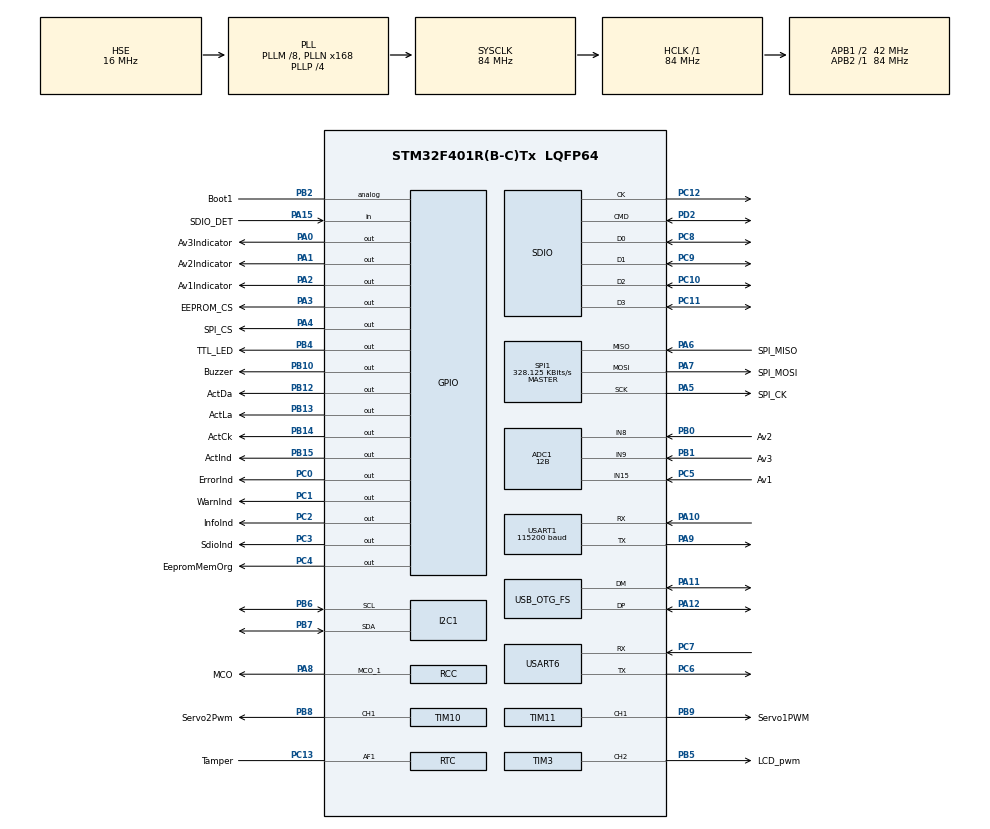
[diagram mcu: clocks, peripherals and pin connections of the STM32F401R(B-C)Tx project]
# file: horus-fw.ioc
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ADC1.Channel-0\#ChannelRegularConversion=ADC_CHANNEL_VREFINT
ADC1.Channel-1\#ChannelRegularConversion=ADC_CHANNEL_TEMPSENSOR
ADC1.Channel-2\#ChannelRegularConversion=ADC_CHANNEL_15
ADC1.Channel-3\#ChannelRegularConversion=ADC_CHANNEL_8
ADC1.Channel-5\#ChannelRegularConversion=ADC_CHANNEL_9
ADC1.ClockPrescaler=ADC_CLOCK_SYNC_PCLK_DIV8
ADC1.ContinuousConvMode=ENABLE
ADC1.DMAContinuousRequests=ENABLE
ADC1.NbrOfConversion=5
ADC1.NbrOfConversionFlag=1
ADC1.Rank-0\#ChannelRegularConversion=1
ADC1.Rank-1\#ChannelRegularConversion=2
ADC1.Rank-2\#ChannelRegularConversion=3
ADC1.Rank-3\#ChannelRegularConversion=4
ADC1.Rank-5\#ChannelRegularConversion=5
ADC1.Resolution=ADC_RESOLUTION_12B
ADC1.SamplingTime-0\#ChannelRegularConversion=ADC_SAMPLETIME_56CYCLES
ADC1.SamplingTime-1\#ChannelRegularConversion=ADC_SAMPLETIME_144CYCLES
ADC1.SamplingTime-2\#ChannelRegularConversion=ADC_SAMPLETIME_56CYCLES
ADC1.SamplingTime-3\#ChannelRegularConversion=ADC_SAMPLETIME_56CYCLES
ADC1.SamplingTime-5\#ChannelRegularConversion=ADC_SAMPLETIME_56CYCLES
ADC1.master=1
Dma.ADC1.0.Direction=DMA_PERIPH_TO_MEMORY
Dma.ADC1.0.FIFOMode=DMA_FIFOMODE_DISABLE
Dma.ADC1.0.Instance=DMA2_Stream4
Dma.ADC1.0.MemDataAlignment=DMA_MDATAALIGN_WORD
Dma.ADC1.0.MemInc=DMA_MINC_ENABLE
Dma.ADC1.0.Mode=DMA_CIRCULAR
Dma.ADC1.0.PeriphDataAlignment=DMA_PDATAALIGN_WORD
Dma.ADC1.0.PeriphInc=DMA_PINC_DISABLE
Dma.ADC1.0.Priority=DMA_PRIORITY_LOW
Dma.Request0=ADC1
Dma.Request1=SDIO
Dma.Request2=USART1_RX
Dma.Request3=USART6_RX
Dma.Request4=USART6_TX
Dma.Request5=USART1_TX
Dma.SDIO.1.Direction=DMA_PERIPH_TO_MEMORY
Dma.SDIO.1.FIFOMode=DMA_FIFOMODE_ENABLE
Dma.SDIO.1.FIFOThreshold=DMA_FIFO_THRESHOLD_FULL
Dma.SDIO.1.Instance=DMA2_Stream3
Dma.SDIO.1.MemBurst=DMA_MBURST_INC4
Dma.SDIO.1.MemDataAlignment=DMA_MDATAALIGN_WORD
Dma.SDIO.1.MemInc=DMA_MINC_ENABLE
Dma.SDIO.1.Mode=DMA_PFCTRL
Dma.SDIO.1.PeriphBurst=DMA_PBURST_INC4
Dma.SDIO.1.PeriphDataAlignment=DMA_PDATAALIGN_WORD
Dma.SDIO.1.PeriphInc=DMA_PINC_DISABLE
Dma.SDIO.1.Priority=DMA_PRIORITY_LOW
Dma.USART1_RX.2.Direction=DMA_PERIPH_TO_MEMORY
Dma.USART1_RX.2.FIFOMode=DMA_FIFOMODE_DISABLE
Dma.USART1_RX.2.Instance=DMA2_Stream2
Dma.USART1_RX.2.MemDataAlignment=DMA_MDATAALIGN_BYTE
Dma.USART1_RX.2.MemInc=DMA_MINC_ENABLE
Dma.USART1_RX.2.Mode=DMA_NORMAL
Dma.USART1_RX.2.PeriphDataAlignment=DMA_PDATAALIGN_BYTE
Dma.USART1_RX.2.PeriphInc=DMA_PINC_DISABLE
Dma.USART1_RX.2.Priority=DMA_PRIORITY_LOW
Dma.USART1_TX.5.Direction=DMA_MEMORY_TO_PERIPH
Dma.USART1_TX.5.FIFOMode=DMA_FIFOMODE_DISABLE
Dma.USART1_TX.5.Instance=DMA2_Stream7
Dma.USART1_TX.5.MemDataAlignment=DMA_MDATAALIGN_BYTE
Dma.USART1_TX.5.MemInc=DMA_MINC_ENABLE
Dma.USART1_TX.5.Mode=DMA_NORMAL
Dma.USART1_TX.5.PeriphDataAlignment=DMA_PDATAALIGN_BYTE
Dma.USART1_TX.5.PeriphInc=DMA_PINC_DISABLE
Dma.USART1_TX.5.Priority=DMA_PRIORITY_LOW
Dma.USART6_RX.3.Direction=DMA_PERIPH_TO_MEMORY
Dma.USART6_RX.3.FIFOMode=DMA_FIFOMODE_DISABLE
Dma.USART6_RX.3.Instance=DMA2_Stream1
Dma.USART6_RX.3.MemDataAlignment=DMA_MDATAALIGN_BYTE
Dma.USART6_RX.3.MemInc=DMA_MINC_ENABLE
Dma.USART6_RX.3.Mode=DMA_NORMAL
Dma.USART6_RX.3.PeriphDataAlignment=DMA_PDATAALIGN_BYTE
Dma.USART6_RX.3.PeriphInc=DMA_PINC_DISABLE
Dma.USART6_RX.3.Priority=DMA_PRIORITY_LOW
Dma.USART6_TX.4.Direction=DMA_MEMORY_TO_PERIPH
Dma.USART6_TX.4.FIFOMode=DMA_FIFOMODE_DISABLE
Dma.USART6_TX.4.Instance=DMA2_Stream6
Dma.USART6_TX.4.MemDataAlignment=DMA_MDATAALIGN_BYTE
Dma.USART6_TX.4.MemInc=DMA_MINC_ENABLE
Dma.USART6_TX.4.Mode=DMA_CIRCULAR
Dma.USART6_TX.4.PeriphDataAlignment=DMA_PDATAALIGN_BYTE
Dma.USART6_TX.4.PeriphInc=DMA_PINC_DISABLE
Dma.USART6_TX.4.Priority=DMA_PRIORITY_LOW
FATFS.BSP.number=1
FATFS.USE_DMA_CODE_SD=1
FATFS._FS_EXFAT=1
FATFS._MAX_SS=4096
FATFS._USE_EXPAND=1
FATFS._USE_FIND=1
FATFS._USE_LABEL=1
FATFS._USE_LFN=1
FATFS0.BSP.STBoard=false
FATFS0.BSP.api=Unknown
FATFS0.BSP.instance=PA15
FATFS0.BSP.ip=GPIO
FATFS0.BSP.mode=Input
FATFS0.BSP.name=Detect_SDIO
FATFS0.BSP.solution=PA15
Mcu.Family=STM32F4
Mcu.Name=STM32F401R(B-C)Tx
Mcu.Package=LQFP64
NVIC.ADC_IRQn=true\:0\:0\:false\:false\:true\:true\:true\:true
NVIC.DMA2_Stream1_IRQn=true\:0\:0\:false\:false\:true\:false\:true\:true
NVIC.DMA2_Stream2_IRQn=true\:0\:0\:false\:false\:true\:false\:true\:true
NVIC.DMA2_Stream3_IRQn=true\:0\:0\:false\:false\:true\:false\:true\:true
NVIC.DMA2_Stream4_IRQn=true\:0\:0\:false\:false\:true\:false\:true\:true
NVIC.DMA2_Stream6_IRQn=true\:0\:0\:false\:false\:true\:false\:true\:true
NVIC.DMA2_Stream7_IRQn=true\:0\:0\:false\:false\:true\:false\:true\:true
NVIC.FPU_IRQn=true\:0\:0\:false\:false\:true\:true\:false\:true
NVIC.OTG_FS_IRQn=true\:0\:0\:false\:false\:true\:false\:true\:true
NVIC.PriorityGroup=NVIC_PRIORITYGROUP_4
NVIC.RCC_IRQn=true\:0\:0\:false\:false\:true\:true\:false\:true
NVIC.RTC_Alarm_IRQn=true\:0\:0\:false\:false\:true\:true\:true\:true
NVIC.SDIO_IRQn=true\:0\:0\:false\:false\:true\:true\:true\:true
NVIC.SPI1_IRQn=true\:0\:0\:false\:false\:true\:true\:true\:true
NVIC.TAMP_STAMP_IRQn=true\:0\:0\:false\:false\:true\:true\:true\:true
NVIC.TIM1_BRK_TIM9_IRQn=true\:0\:0\:false\:false\:true\:true\:true\:true
NVIC.TIM1_UP_TIM10_IRQn=true\:15\:0\:false\:false\:true\:false\:true\:true
NVIC.TIM4_IRQn=true\:0\:0\:false\:false\:true\:true\:true\:true
NVIC.TIM5_IRQn=true\:0\:0\:false\:false\:true\:true\:true\:true
NVIC.TimeBase=TIM1_UP_TIM10_IRQn
NVIC.TimeBaseIP=TIM1
NVIC.USART1_IRQn=true\:0\:0\:false\:false\:true\:true\:true\:true
NVIC.USART6_IRQn=true\:0\:0\:false\:false\:true\:true\:true\:true
PA0-WKUP.GPIO_Label=Av3Indicator
PA0-WKUP.Signal=GPIO_Output
PA1.GPIO_Label=Av2Indicator
PA1.Signal=GPIO_Output
PA10.Mode=Asynchronous
PA10.Signal=USART1_RX
PA11.Mode=Device_Only
PA11.Signal=USB_OTG_FS_DM
PA12.Mode=Device_Only
PA12.Signal=USB_OTG_FS_DP
PA13.GPIO_Label=SWDio
PA13.Mode=Trace_Asynchronous_SW
PA13.Signal=SYS_JTMS-SWDIO
PA14.GPIO_Label=SWCk
PA14.Mode=Trace_Asynchronous_SW
PA14.Signal=SYS_JTCK-SWCLK
PA15.GPIO_Label=SDIO_DET
PA15.Signal=GPIO_Input
PA2.GPIO_Label=Av1Indicator
PA2.Signal=GPIO_Output
PA3.GPIO_Label=EEPROM_CS
PA3.Signal=GPIO_Output
PA4.GPIO_Label=SPI_CS
PA4.Signal=GPIO_Output
PA5.GPIO_Label=SPI_CK
PA5.Mode=Full_Duplex_Master
PA5.Signal=SPI1_SCK
PA6.GPIO_Label=SPI_MISO
PA6.Mode=Full_Duplex_Master
PA6.Signal=SPI1_MISO
PA7.GPIO_Label=SPI_MOSI
PA7.Mode=Full_Duplex_Master
PA7.Signal=SPI1_MOSI
PA8.GPIO_Label=MCO
PA8.Mode=Clock-out-1
PA8.Signal=RCC_MCO_1
PA9.Mode=Asynchronous
PA9.Signal=USART1_TX
PB0.GPIO_Label=Av2
PB0.Signal=ADCx_IN8
PB1.GPIO_Label=Av3
PB1.Signal=ADCx_IN9
PB10.GPIO_Label=Buzzer
PB10.Signal=GPIO_Output
PB12.GPIO_Label=ActDa
PB12.Signal=GPIO_Output
PB13.GPIO_Label=ActLa
PB13.Signal=GPIO_Output
PB14.GPIO_Label=ActCk
PB14.Signal=GPIO_Output
PB15.GPIO_Label=ActInd
PB15.Signal=GPIO_Output
PB2.GPIO_Label=Boot1
PB2.Signal=GPIO_Analog
PB3.GPIO_Label=SWO
PB3.Mode=Trace_Asynchronous_SW
PB3.Signal=SYS_JTDO-SWO
PB4.GPIO_Label=TTL_LED
PB4.PinState=GPIO_PIN_SET
PB4.Signal=GPIO_Output
PB5.GPIO_Label=LCD_pwm
PB5.Signal=S_TIM3_CH2
PB6.Mode=I2C
PB6.Signal=I2C1_SCL
PB7.Mode=I2C
PB7.Signal=I2C1_SDA
PB8.GPIO_Label=Servo2Pwm
PB8.Signal=S_TIM10_CH1
PB9.GPIO_Label=Servo1PWM
PB9.Signal=S_TIM11_CH1
PC0.GPIO_Label=ErrorInd
PC0.Signal=GPIO_Output
PC1.GPIO_Label=WarnInd
PC1.Signal=GPIO_Output
PC10.Mode=SD_4_bits_Wide_bus
PC10.Signal=SDIO_D2
PC11.Mode=SD_4_bits_Wide_bus
PC11.Signal=SDIO_D3
PC12.Mode=SD_4_bits_Wide_bus
PC12.Signal=SDIO_CK
PC13-ANTI_TAMP.GPIO_Label=Tamper
PC13-ANTI_TAMP.Mode=Tamper 1 enabled - Input Enabled to AF1
PC13-ANTI_TAMP.Signal=RTC_AF1
PC14-OSC32_IN.GPIO_Label=LSEin
PC14-OSC32_IN.Mode=LSE-External-Oscillator
PC14-OSC32_IN.Signal=RCC_OSC32_IN
PC15-OSC32_OUT.GPIO_Label=LSEout
PC15-OSC32_OUT.Mode=LSE-External-Oscillator
PC15-OSC32_OUT.Signal=RCC_OSC32_OUT
PC2.GPIO_Label=InfoInd
PC2.Signal=GPIO_Output
PC3.GPIO_Label=SdioInd
PC3.Signal=GPIO_Output
PC4.GPIO_Label=EepromMemOrg
PC4.PinState=GPIO_PIN_SET
PC4.Signal=GPIO_Output
PC5.GPIO_Label=Av1
PC5.Signal=ADCx_IN15
PC6.Mode=Asynchronous
PC6.Signal=USART6_TX
PC7.Mode=Asynchronous
PC7.Signal=USART6_RX
PC8.Mode=SD_4_bits_Wide_bus
PC8.Signal=SDIO_D0
PC9.Mode=SD_4_bits_Wide_bus
PC9.Signal=SDIO_D1
PD2.Mode=SD_4_bits_Wide_bus
PD2.Signal=SDIO_CMD
PH0\ -\ OSC_IN.GPIO_Label=HSEin
PH0\ -\ OSC_IN.Mode=HSE-External-Oscillator
PH0\ -\ OSC_IN.Signal=RCC_OSC_IN
PH1\ -\ OSC_OUT.GPIO_Label=HSEout
PH1\ -\ OSC_OUT.Mode=HSE-External-Oscillator
PH1\ -\ OSC_OUT.Signal=RCC_OSC_OUT
ProjectManager.HeapSize=0x800
ProjectManager.StackSize=0x1000
ProjectManager.TargetToolchain=STM32CubeIDE
RCC.48MHZClocksFreq_Value=48000000
RCC.AHBFreq_Value=84000000
RCC.APB1CLKDivider=RCC_HCLK_DIV2
RCC.APB1Freq_Value=42000000
RCC.APB1TimFreq_Value=84000000
RCC.APB2Freq_Value=84000000
RCC.APB2TimFreq_Value=84000000
RCC.CortexFreq_Value=84000000
RCC.HCLKFreq_Value=84000000
RCC.HSE_VALUE=16000000
RCC.HSI_VALUE=16000000
RCC.PLLM=8
RCC.PLLN=168
RCC.PLLP=RCC_PLLP_DIV4
RCC.PLLQ=7
RCC.RCC_MCO1Source=RCC_MCO1SOURCE_HSE
RCC.RCC_RTC_Clock_SourceVirtual=RCC_RTCCLKSOURCE_LSE
RCC.SYSCLKFreq_VALUE=84000000
RCC.SYSCLKSource=RCC_SYSCLKSOURCE_PLLCLK
RCC.VCOOutputFreq_Value=336000000
RTC.Alarm=RTC_ALARM_A
RTC.Alarm_B=RTC_ALARM_B
RTC.Date=30
RTC.Format=RTC_FORMAT_BIN
RTC.Hours=15
RTC.Minutes=20
RTC.Month=RTC_MONTH_JULY
RTC.PinSelection_1=RTC_TAMPERPIN_DEFAULT
RTC.StoreOperation=RTC_STOREOPERATION_SET
RTC.WeekDay=RTC_WEEKDAY_TUESDAY
RTC.Year=24
SDIO.ClockPowerSave=SDIO_CLOCK_POWER_SAVE_ENABLE
SH.ADCx_IN15.0=ADC1_IN15,IN15
SH.ADCx_IN8.0=ADC1_IN8,IN8
SH.ADCx_IN9.0=ADC1_IN9,IN9
SH.S_TIM10_CH1.0=TIM10_CH1,PWM Generation1 CH1
SH.S_TIM11_CH1.0=TIM11_CH1,PWM Generation1 CH1
SH.S_TIM3_CH2.0=TIM3_CH2,PWM Generation2 CH2
SPI1.BaudRatePrescaler=SPI_BAUDRATEPRESCALER_256
SPI1.CalculateBaudRate=328.125 KBits/s
SPI1.DataSize=SPI_DATASIZE_8BIT
SPI1.Direction=SPI_DIRECTION_2LINES
SPI1.Mode=SPI_MODE_MASTER
SPI1.VirtualType=VM_MASTER
TIM10.AutoReloadPreload=TIM_AUTORELOAD_PRELOAD_DISABLE
TIM10.Channel=TIM_CHANNEL_1
TIM10.Period=1000 - 1
TIM10.Prescaler=1680 - 1
TIM11.AutoReloadPreload=TIM_AUTORELOAD_PRELOAD_DISABLE
TIM11.Channel=TIM_CHANNEL_1
TIM11.Period=1000 - 1
TIM11.Prescaler=1680 - 1
TIM3.AutoReloadPreload=TIM_AUTORELOAD_PRELOAD_DISABLE
TIM3.Channel-PWM\ Generation2\ CH2=TIM_CHANNEL_2
TIM3.Period=1000 - 1
TIM3.Prescaler=84 - 1
TIM4.AutoReloadPreload=TIM_AUTORELOAD_PRELOAD_ENABLE
TIM4.Channel-Output\ Compare1\ No\ Output=TIM_CHANNEL_1
TIM4.OCMode_1=TIM_OCMODE_TOGGLE
TIM4.Period=1000 - 1
TIM4.Prescaler=8400 - 1
TIM4.Pulse-Output\ Compare1\ No\ Output=1000-1
TIM5.AutoReloadPreload=TIM_AUTORELOAD_PRELOAD_ENABLE
TIM5.Period=100000 - 1
TIM5.Prescaler=8400 - 1
TIM9.AutoReloadPreload=TIM_AUTORELOAD_PRELOAD_ENABLE
TIM9.Channel-Output\ Compare1\ No\ Output=TIM_CHANNEL_1
TIM9.OCMode_1=TIM_OCMODE_TOGGLE
TIM9.Period=10000 - 1
TIM9.Prescaler=8400 - 1
TIM9.Pulse-Output\ Compare1\ No\ Output=10000 - 1
USART1.BaudRate=115200
USART1.VirtualMode=VM_ASYNC
USART6.VirtualMode=VM_ASYNC
USB_DEVICE.CLASS_NAME_FS=CDC
USB_DEVICE.MANUFACTURER_STRING=VexUF By Aly Badawy
USB_DEVICE.PID_CDC_FS=61858
USB_DEVICE.PRODUCT_STRING_CDC_FS=VexUF\:Horus Serial Interface
USB_DEVICE.USBD_DEBUG_LEVEL=0
USB_DEVICE.USBD_MAX_NUM_CONFIGURATION=1
USB_DEVICE.USBD_MAX_NUM_INTERFACES=1
USB_DEVICE.VirtualMode=Cdc
USB_DEVICE.VirtualModeFS=Cdc_FS
USB_OTG_FS.Sof_enable=ENABLE
USB_OTG_FS.VirtualMode=Device_Only
VP_ADC1_TempSens_Input.Mode=IN-TempSens
VP_ADC1_Vref_Input.Mode=IN-Vrefint
VP_FATFS_VS_SDIO.Mode=SDIO
VP_RTC_VS_RTC_Activate.Mode=RTC_Enabled
VP_RTC_VS_RTC_Alarm_A_Intern.Mode=Alarm A
VP_RTC_VS_RTC_Alarm_B_Intern.Mode=Alarm B
VP_RTC_VS_RTC_Calendar.Mode=RTC_Calendar
VP_SYS_VS_tim1.Mode=TIM1
VP_TIM10_VS_ClockSourceINT.Mode=Enable_Timer
VP_TIM11_VS_ClockSourceINT.Mode=Enable_Timer
VP_TIM3_VS_ClockSourceINT.Mode=Internal
VP_TIM4_VS_ClockSourceINT.Mode=Internal
VP_TIM4_VS_no_output1.Mode=Output Compare1 No Output
VP_TIM5_VS_ClockSourceINT.Mode=Internal
VP_TIM9_VS_ClockSourceINT.Mode=Internal
VP_TIM9_VS_no_output1.Mode=Output Compare1 No Output
VP_USB_DEVICE_VS_USB_DEVICE_CDC_FS.Mode=CDC_FS
board=custom

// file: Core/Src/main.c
/* USER CODE BEGIN Header */
/**
  ******************************************************************************
  * @file           : main.c
  * @brief          : Main VexUF:Horus program body
  ******************************************************************************
  * @attention
  *
  * Text within  USER CODE sections: Copyright (c) 2024 Aly Badawy
  * Text outside USER CODE sections: Copyright (c) 2024 STMicroelectronics.
  * All rights reserved.
  *
  * This software is licensed under terms that can be found in the LICENSE file
  * in the root directory of this software component.
  * If no LICENSE file comes with this software, it is provided AS-IS.
  *
  ******************************************************************************
  */
/* USER CODE END Header */
#include "main.h"
#include "adc.h"
#include "dma.h"
#include "fatfs.h"
#include "i2c.h"
#include "rtc.h"
#include "sdio.h"
#include "spi.h"
#include "tim.h"
#include "usart.h"
#include "usb_device.h"
#include "gpio.h"

/* USER CODE BEGIN Includes */

#include "../vexuf/vexuf.h"
#include "../vexuf/vexuf_timers.h"
#include "../vexuf/vexuf_output.h"
/* USER CODE END Includes */

void SystemClock_Config(void);

/* USER CODE BEGIN 0 */
int _write(int file, char *ptr, int len) {
	for (int i=0; i < len; i++) {
		ITM_SendChar(*ptr++);
	}
	return len;
}

/* USER CODE END 0 */

int main(void)
{

  /* MCU Configuration--------------------------------------------------------*/

  /* Reset of all peripherals, Initializes the Flash interface and the Systick. */
  HAL_Init();

  /* Configure the system clock */
  SystemClock_Config();

  /* Initialize all configured peripherals */
  MX_GPIO_Init();
  MX_DMA_Init();
  MX_RTC_Init();
  MX_ADC1_Init();
  MX_I2C1_Init();
  MX_SDIO_SD_Init();
  MX_FATFS_Init();
  MX_SPI1_Init();
  MX_TIM4_Init();
  MX_TIM5_Init();
  MX_TIM9_Init();
  MX_USART1_UART_Init();
  MX_USART6_UART_Init();
  MX_TIM3_Init();
  MX_USB_DEVICE_Init();
  MX_TIM10_Init();
  MX_TIM11_Init();
  /* USER CODE BEGIN 2 */

  VexUF_Init();

  /* USER CODE END 2 */

  /* Infinite loop */
  while (1)
  {

    /* USER CODE BEGIN 3 */
	VEXUF_run();
  }
  /* USER CODE END 3 */
}

void SystemClock_Config(void)
{
  RCC_OscInitTypeDef RCC_OscInitStruct = {0};
  RCC_ClkInitTypeDef RCC_ClkInitStruct = {0};

  /** Configure the main internal regulator output voltage
  */
  __HAL_RCC_PWR_CLK_ENABLE();
  __HAL_PWR_VOLTAGESCALING_CONFIG(PWR_REGULATOR_VOLTAGE_SCALE2);

  /** Initializes the RCC Oscillators according to the specified parameters
  * in the RCC_OscInitTypeDef structure.
  */
  RCC_OscInitStruct.OscillatorType = RCC_OSCILLATORTYPE_HSE|RCC_OSCILLATORTYPE_LSE;
  RCC_OscInitStruct.HSEState = RCC_HSE_ON;
  RCC_OscInitStruct.LSEState = RCC_LSE_ON;
  RCC_OscInitStruct.PLL.PLLState = RCC_PLL_ON;
  RCC_OscInitStruct.PLL.PLLSource = RCC_PLLSOURCE_HSE;
  RCC_OscInitStruct.PLL.PLLM = 8;
  RCC_OscInitStruct.PLL.PLLN = 168;
  RCC_OscInitStruct.PLL.PLLP = RCC_PLLP_DIV4;
  RCC_OscInitStruct.PLL.PLLQ = 7;
  if (HAL_RCC_OscConfig(&RCC_OscInitStruct) != HAL_OK)
  {
    Error_Handler();
  }

  /** Initializes the CPU, AHB and APB buses clocks
  */
  RCC_ClkInitStruct.ClockType = RCC_CLOCKTYPE_HCLK|RCC_CLOCKTYPE_SYSCLK
                              |RCC_CLOCKTYPE_PCLK1|RCC_CLOCKTYPE_PCLK2;
  RCC_ClkInitStruct.SYSCLKSource = RCC_SYSCLKSOURCE_PLLCLK;
  RCC_ClkInitStruct.AHBCLKDivider = RCC_SYSCLK_DIV1;
  RCC_ClkInitStruct.APB1CLKDivider = RCC_HCLK_DIV2;
  RCC_ClkInitStruct.APB2CLKDivider = RCC_HCLK_DIV1;

  if (HAL_RCC_ClockConfig(&RCC_ClkInitStruct, FLASH_LATENCY_2) != HAL_OK)
  {
    Error_Handler();
  }
  HAL_RCC_MCOConfig(RCC_MCO1, RCC_MCO1SOURCE_HSE, RCC_MCODIV_1);
}

void HAL_TIM_PeriodElapsedCallback(TIM_HandleTypeDef *htim)
{
  if (htim->Instance == TIM1) {
    HAL_IncTick();
  }
  /* USER CODE BEGIN Callback 1 */
  else if (htim->Instance == TIM4) { // every 100ms (10Hz);
  	  TIMERS_10Hz();
    } else if (htim->Instance == TIM9) { // every 1s (1Hz)
  	  TIMERS_1Hz();
    } else if (htim->Instance == TIM5) { // every 10 seconds (0.1Hz)
  	  TIMERS_0d1Hz();
    }
  /* USER CODE END Callback 1 */
}

void Error_Handler(void)
{
  /* USER CODE BEGIN Error_Handler_Debug */
  /* User can add his own implementation to report the HAL error return state */
  __disable_irq();
  OUTPUT_buzzOnError();
  while (1)
  {
  }
  /* USER CODE END Error_Handler_Debug */
}
